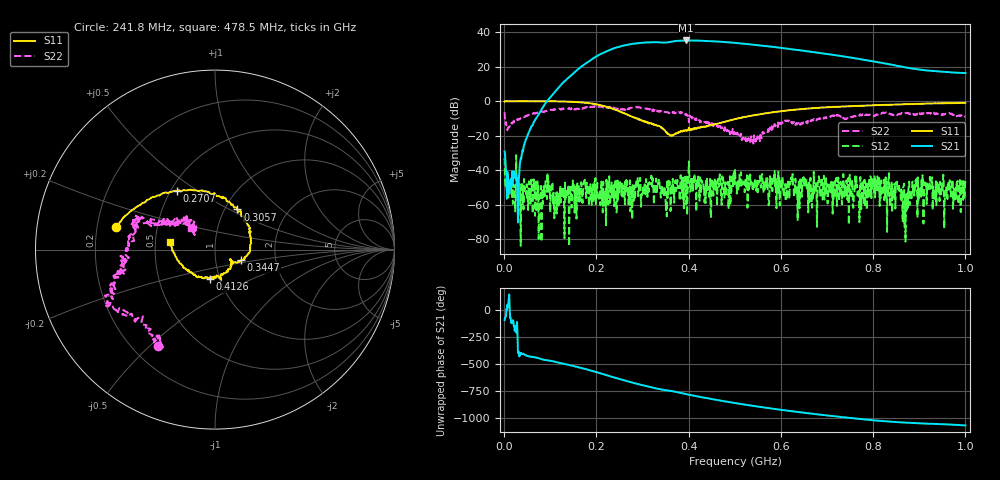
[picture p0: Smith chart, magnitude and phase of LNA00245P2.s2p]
! Created with skrf 1.9.0 (http://scikit-rf.org).
# Hz S RI R 50.0
!freq ReS11 ImS11 ReS21 ImS21 ReS12 ImS12 ReS22 ImS22
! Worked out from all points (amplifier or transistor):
!   1001 points, 1 MHz to 1 GHz, reference 50 ohm
!   highest |S21| = 35.2 dB at 394.6 MHz (marker M1)
!   |S21| within 3 dB of that: 258.8 MHz to 558.5 MHz (299.7 MHz wide, 73.3 % of centre)
!   unconditionally stable (mu >= 1): start of sweep to 93.75 MHz; 228.2 MHz to 318.6 MHz; 401.1 MHz to end of sweep (the widest 3 of 25)
!   at 166.8 MHz: K = 0.80, MSG = 33.4 dB, |S12| = -46.9 dB
!   at 500.5 MHz: K = 1.11, MAG = 34.5 dB, |S12| = -39.3 dB
!   at 1 GHz: K = 2.08, MAG = 24.4 dB, |S12| = -44.4 dB
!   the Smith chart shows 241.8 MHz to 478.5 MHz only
!   S11 on the Smith chart (normalised r, x): 241.8 MHz: 0.28, +0.11; 270.7 MHz: 0.54, +0.41; 305.7 MHz: 1.15, +0.55; 344.7 MHz: 1.33, -0.16; 412.6 MHz: 0.89, -0.30; 478.5 MHz: 0.60, +0.06
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1000000  0.977 -0.00135  0.000213 -0.0351  -0.0179 0.0141  0.3416 0.337
1.08892e8  0.5076 -0.851  -0.8316 -1.571  -4.15e-05 -0.000408  0.4314 -0.3619
1.67833e8  -0.2527 -0.8906  -10.16 -0.4535  0.00259 0.00225  0.0508 -0.6369
2.08792e8  -0.6677 -0.3839  -15.68 16.88  -0.000544 0.000817  -0.2037 -0.6677
2.41759e8  -0.5512 0.1282  -0.3446 35.34  -0.00521 -0.00197  -0.3168 -0.5379
2.7073e8  -0.2142 0.3256  25.31 35.76  -0.0018 -0.00249  -0.5175 -0.361
3.05695e8  0.1247 0.2235  47.91 13.37  -0.00192 0.00115  -0.5745 -0.2287
3.34666e8  0.1957 -0.00542  49.46 -11.62  -0.00163 0.00397  -0.5031 -0.0638
3.44656e8  0.1466 -0.0577  46.29 -17.92  -0.00251 -0.000665  -0.4962 0.00374
3.7063e8  0.0925 -0.0629  42.99 -34.57  -0.00405 0.00162  -0.4271 0.123
3.94606e8  0.0479 -0.1322  27.68 -50.3  0.00102 -0.000253  -0.4026 0.1463
4.12588e8  -0.0301 -0.1644  12.89 -55.44  0.00228 0.00767  -0.244 0.1427
4.43557e8  -0.1626 -0.1071  -11.5 -53.89  0.00189 0.00116  -0.158 0.1869
4.78522e8  -0.2499 0.0445  -32.6 -40.03  -0.000166 0.00258  -0.1322 0.1195
5.005e8  -0.259 0.1672  -39.86 -28.4  0.0108 0.000227  -0.1063 0.0332
5.39461e8  -0.171 0.3466  -42.82 -6.899  0.00106 -0.00226  -0.0578 -0.0413
5.84416e8  0.0216 0.4833  -35.38 11.87  0.004 -0.00155  -0.1404 -0.0893
6.25375e8  0.2118 0.5171  -23.56 21.04  -0.00228 -0.00749  -0.1772 -0.1669
6.67333e8  0.407 0.4746  -11.56 23.91  -0.000544 -0.000625  -0.2791 -0.0611
7.51249e8  0.6659 0.2729  4.535 17.83  0.00167 0.00156  -0.3432 0.0303
8.34166e8  0.7869 0.0169  8.677 8.053  -0.00758 -0.00334  -0.4277 0.0966
1e9  0.7264 -0.528  6.506 0.7207  0.00601 -0.000341  -0.1635 0.3238
